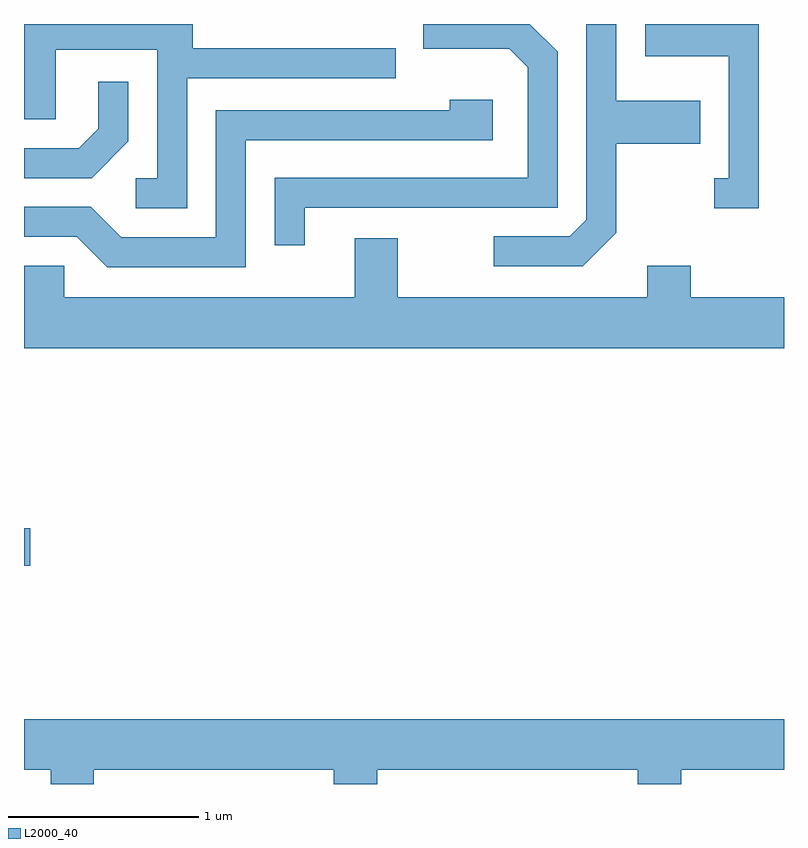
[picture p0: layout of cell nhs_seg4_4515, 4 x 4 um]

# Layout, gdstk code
import gdstk
lib = gdstk.Library(unit=1e-6, precision=1e-09)
def R(c, l, rs):  # rectangles x0, y0, x1, y1
    for r in rs: c.add(gdstk.rectangle(r[:2], r[2:], *l))
def P(c, l, *ps):  # polygons
    for p in ps: c.add(gdstk.Polygon(p, *l))
L2000_40 = (2000, 40)

nhs_seg4_4515 = lib.new_cell('nhs_seg4_4515')
R(nhs_seg4_4515, L2000_40, [(317.611,1309.131,317.644,1309.329)])
P(nhs_seg4_4515, L2000_40, [(320.729,1310.884),(320.729,1311.351),(321.169,1311.351),(321.169,1311.579),(320.729,1311.579),(320.729,1311.982),(320.571,1311.982),(320.571,1310.952),(320.484,1310.864),(320.083,1310.864),(320.083,1310.706),(320.552,1310.706)],
  [(319.089,1311.016),(320.419,1311.016),(320.419,1311.837),(320.274,1311.982),(319.711,1311.982),(319.711,1311.851),(320.164,1311.851),(320.261,1311.754),(320.261,1311.174),(318.931,1311.174),(318.931,1310.818),(319.089,1310.818)],
  [(318.469,1311.696),(319.568,1311.696),(319.568,1311.854),(318.499,1311.854),(318.499,1311.982),(317.611,1311.982),(317.611,1311.481),(317.779,1311.481),(317.779,1311.846),(318.311,1311.846),(318.311,1311.169),(318.198,1311.169),(318.198,1311.011),(318.469,1311.011)],
  [(321.479,1311.982),(320.881,1311.982),(320.881,1311.811),(321.321,1311.811),(321.321,1311.169),(321.243,1311.169),(321.243,1311.011),(321.479,1311.011)],
  [(318.159,1311.364),(318.159,1311.678),(318.001,1311.678),(318.001,1311.432),(317.899,1311.329),(317.611,1311.329),(317.611,1311.171),(317.967,1311.171)],
  [(318.779,1311.371),(320.079,1311.371),(320.079,1311.584),(319.851,1311.584),(319.851,1311.529),(318.621,1311.529),(318.621,1310.859),(318.122,1310.859),(317.962,1311.019),(317.611,1311.019),(317.611,1310.861),(317.889,1310.861),(318.049,1310.701),(318.779,1310.701)],
  [(321.611,1310.544),(321.119,1310.544),(321.119,1310.709),(320.891,1310.709),(320.891,1310.544),(319.579,1310.544),(319.579,1310.854),(319.351,1310.854),(319.351,1310.544),(317.824,1310.544),(317.824,1310.709),(317.611,1310.709),(317.611,1310.276),(321.611,1310.276)],
  [(317.979,1308.056),(319.241,1308.056),(319.241,1307.982),(319.469,1307.982),(319.469,1308.056),(320.841,1308.056),(320.841,1307.982),(321.069,1307.982),(321.069,1308.056),(321.611,1308.056),(321.611,1308.324),(317.611,1308.324),(317.611,1308.056),(317.751,1308.056),(317.751,1307.982),(317.979,1307.982)])

lib.write_gds('nhs_seg4_4515.gds')
